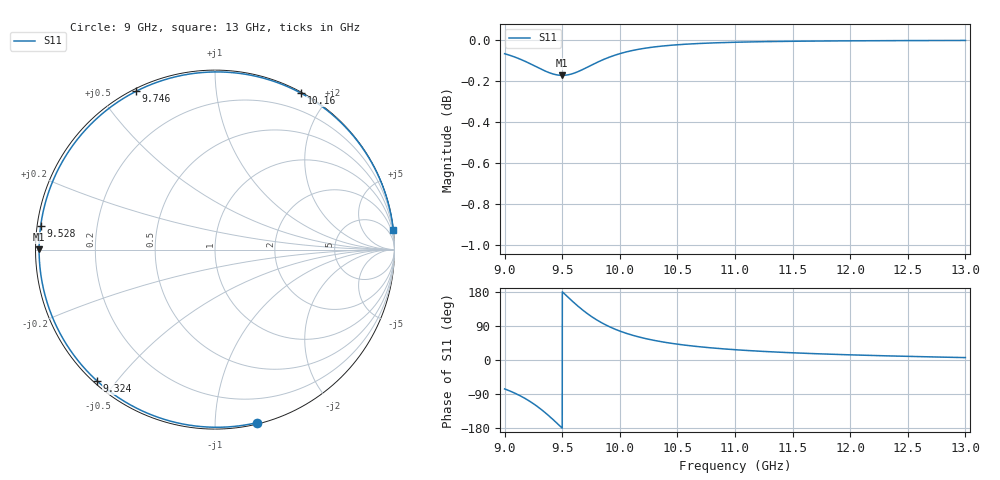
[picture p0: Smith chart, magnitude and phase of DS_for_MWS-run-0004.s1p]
! TOUCHSTONE file generated by CST DESIGN STUDIO
! Date and time: Tue Feb  4 17:28:42 2025
! Project name: C:\Work\MatlabApps\UnitCellOptimizationMatlab\CST\unitcell.cst
! Tree item: Tasks\Sweep1\SPara1\S-Parameters
! Header version: 2024
! Port assignment regex: !\s*Touchstone port\s*([0-9]+)\s*=\s*(CST MWS port|CST DES external port|CST DES block port)\s*(.+)\s* \(\"(.*)\"\)(\s*mode\s*([0-9]+))?.*
! Touchstone port assignment:
! Touchstone port 1 = CST DES external port 1 ("")
# GHz S MA R 50
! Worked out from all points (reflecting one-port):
!   4001 points, 9 GHz to 13 GHz, reference 50 ohm
!   lowest |S11| = -0.2 dB at 9.501 GHz (marker M1), VSWR 100.05, Z = 0.5 + j0.0356 ohm
!   phase of S11 starts at -76 deg and turns -277 deg over the sweep
!   S11 on the Smith chart (normalised r, x): 9 GHz: 0.01, -1.27; 9.324 GHz: 0.01, -0.45; 9.528 GHz: 0.01, +0.07; 9.746 GHz: 0.01, +0.62; 10.16 GHz: 0.01, +1.69; 13 GHz: 0, +18
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9  0.9922 -76.3
9.085  0.9904 -87.0
9.186  0.9877 -103.0
9.258  0.9855 -117.0
9.324  0.9834 -131.9
9.371  0.9821 -143.8
9.42  0.981 -157.0
9.461  0.9804 -168.6
9.5  0.9802 -179.8
9.501  0.9802 179.9
9.528  0.9803 172.1
9.582  0.981 156.8
9.642  0.9824 140.8
9.693  0.9839 128.2
9.746  0.9856 116.4
9.798  0.9872 106.1
9.856  0.9889 96.0
9.927  0.9907 85.5
10  0.9922 76.4
10.16  0.9946 61.2
10.315  0.996 50.8
10.5  0.9971 41.8
10.722  0.998 34.0
11  0.9985 27.2
11.5  0.9991 19.0
12  0.9993 13.6
12.5  0.9995 9.6
13  0.9995 6.3
